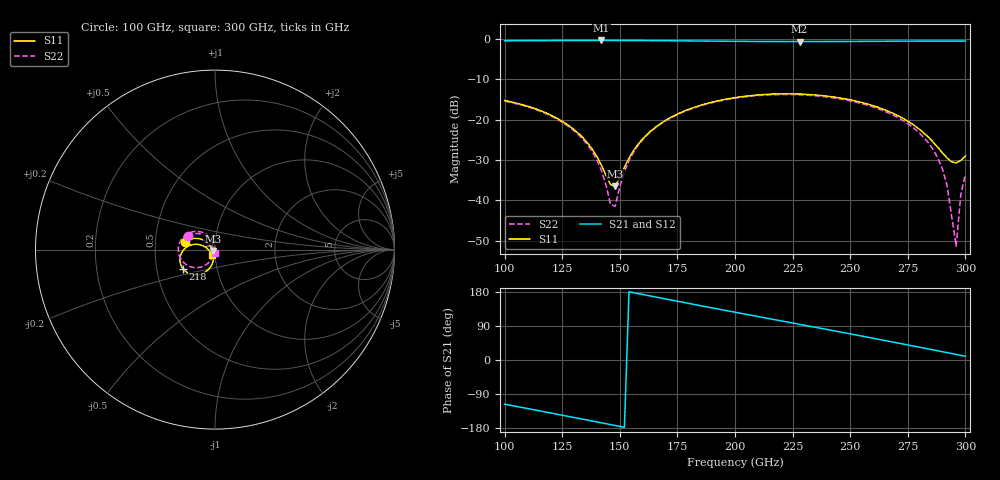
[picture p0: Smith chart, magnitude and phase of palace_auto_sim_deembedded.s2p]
! Created with skrf 1.11.0 (http://scikit-rf.org).
# GHz S DB R 50.0
!freq dBS11 angS11 dBS21 angS21 dBS12 angS12 dBS22 angS22
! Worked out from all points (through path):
!   101 points, 100 GHz to 300 GHz, reference 50 ohm
!   highest |S21| = -0.40 dB at 142 GHz (marker M1); lowest = -0.7 dB at 228 GHz (marker M2)
!   group delay of S21, straight-line fit = 3.23 ps
!   lowest |S11| = -36.5 dB at 148 GHz (marker M3), VSWR 1.03, Z = 48.7 - j0.771 ohm
!   |S11| at or under -10 dB: start of sweep to end of sweep
!   |S22| runs from -51.4 to -13.8 dB; largest |S21 - S12| = 1.1e-14
!   S11 on the Smith chart (normalised r, x): 100 GHz: 0.71, +0.06; 218 GHz: 0.68, -0.15; 300 GHz: 0.97, -0.06
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100  -15.28 166.5  -0.48 -116.6  -0.48 -116.6  -15.43 153.4
120  -18.88 147.1  -0.43 -139.8  -0.43 -139.8  -19.08 130.2
134  -24.50 138.4  -0.41 -156.3  -0.41 -156.3  -24.89 116.5
142  -31.26 147.5  -0.40 -165.8  -0.40 -165.8  -32.57 117.5
146  -36.15 -179.6  -0.40 -170.5  -0.40 -170.5  -41.03 151.0
148  -36.48 -148.1  -0.40 -172.9  -0.40 -172.9  -41.49 -150.7
152  -31.79 -110.4  -0.41 -177.7  -0.41 -177.7  -32.88 -112.7
156  -27.65 -100.9  -0.42 177.6  -0.42 177.6  -28.06 -109.4
168  -20.87 -102.8  -0.46 163.4  -0.46 163.4  -21.02 -118.2
182  -17.02 -114.5  -0.53 146.9  -0.53 146.9  -17.15 -133.7
200  -14.56 -131.7  -0.61 126.1  -0.61 126.1  -14.70 -154.5
218  -13.65 -149.2  -0.67 105.6  -0.67 105.6  -13.81 -175.4
228  -13.67 -158.8  -0.68 94.2  -0.68 94.2  -13.85 172.9
234  -13.86 -164.5  -0.67 87.3  -0.67 87.3  -14.06 165.8
250  -15.11 -179.4  -0.64 69.0  -0.64 69.0  -15.36 146.9
268  -18.30 166.2  -0.59 48.0  -0.59 48.0  -18.72 125.1
280  -22.39 162.2  -0.56 33.8  -0.56 33.8  -23.30 110.5
288  -26.86 170.9  -0.55 24.3  -0.55 24.3  -29.49 100.9
292  -29.51 -172.9  -0.55 19.5  -0.55 19.5  -36.18 96.7
296  -30.72 -143.8  -0.55 14.7  -0.55 14.7  -51.35 -97.9
298  -30.15 -128.6  -0.55 12.3  -0.55 12.3  -38.55 -94.1
300  -29.00 -116.7  -0.56 9.9  -0.56 9.9  -33.58 -95.8
